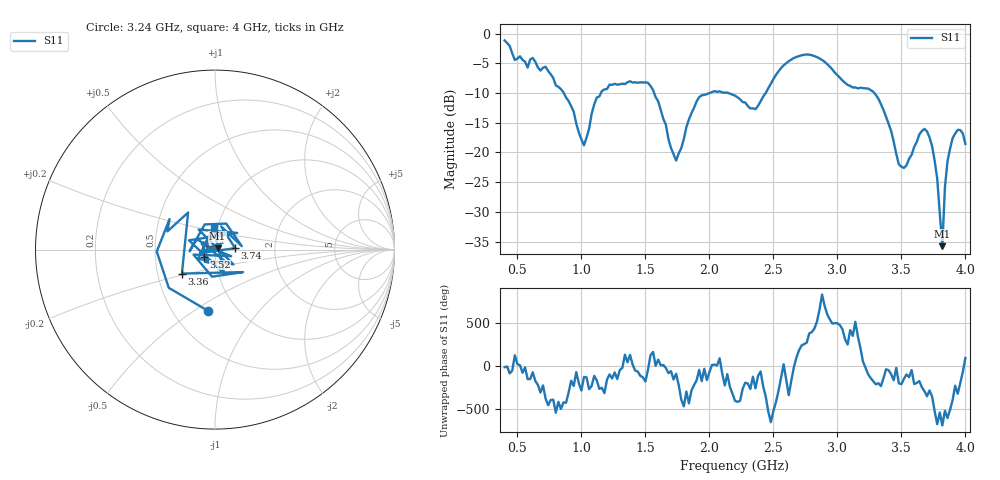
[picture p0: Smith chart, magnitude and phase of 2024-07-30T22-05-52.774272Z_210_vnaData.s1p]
!Created with skrf (http://scikit-rf.org).
# Hz S RI R 50.0
!freq ReS11 ImS11
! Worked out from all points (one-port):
!   181 points, 400 MHz to 4 GHz, reference 50 ohm
!   lowest |S11| = -35.8 dB at 3.82 GHz (marker M1), VSWR 1.03, Z = 51.5 + j0.78 ohm
!   |S11| at or under -10 dB: 1.568 GHz to 2 GHz (431.3 MHz wide, 24.2 % of centre); 2.148 GHz to 2.44 GHz (292.3 MHz wide, 12.7 % of centre); 3.288 GHz to end of sweep (the widest 3 of 4)
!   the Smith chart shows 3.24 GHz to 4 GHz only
!   S11 on the Smith chart (normalised r, x): 3.24 GHz: 0.74, -0.58; 3.36 GHz: 0.67, -0.19; 3.52 GHz: 0.88, -0.07; 3.74 GHz: 1.25, +0.02; 4 GHz: 0.96, +0.23
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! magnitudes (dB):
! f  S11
! 400 MHz  -1.1
! 480 MHz  -4.4
! 860 MHz  -9.9
! 1.02 GHz  -18.8
! 1.12 GHz  -10.8
! 1.3 GHz  -8.5
! 1.52 GHz  -8.3
! 1.74 GHz  -21.4
! 1.76 GHz  -20.2
! 1.92 GHz  -10.7
! 2.2 GHz  -10.4
! 2.36 GHz  -12.7
! 2.66 GHz  -4.1
! 2.86 GHz  -4.2
! 3.1 GHz  -8.8
! 3.24 GHz  -9.3
! 3.36 GHz  -12.9
! 3.48 GHz  -22.0
! 3.52 GHz  -22.6
! 3.56 GHz  -21.1
! 3.68 GHz  -16.0
! 3.74 GHz  -19.0
! 3.78 GHz  -24.4
! 3.82 GHz  -35.8
! 3.84 GHz  -25.9
! 3.88 GHz  -19.4
! 3.94 GHz  -16.2
! 4 GHz  -18.6
